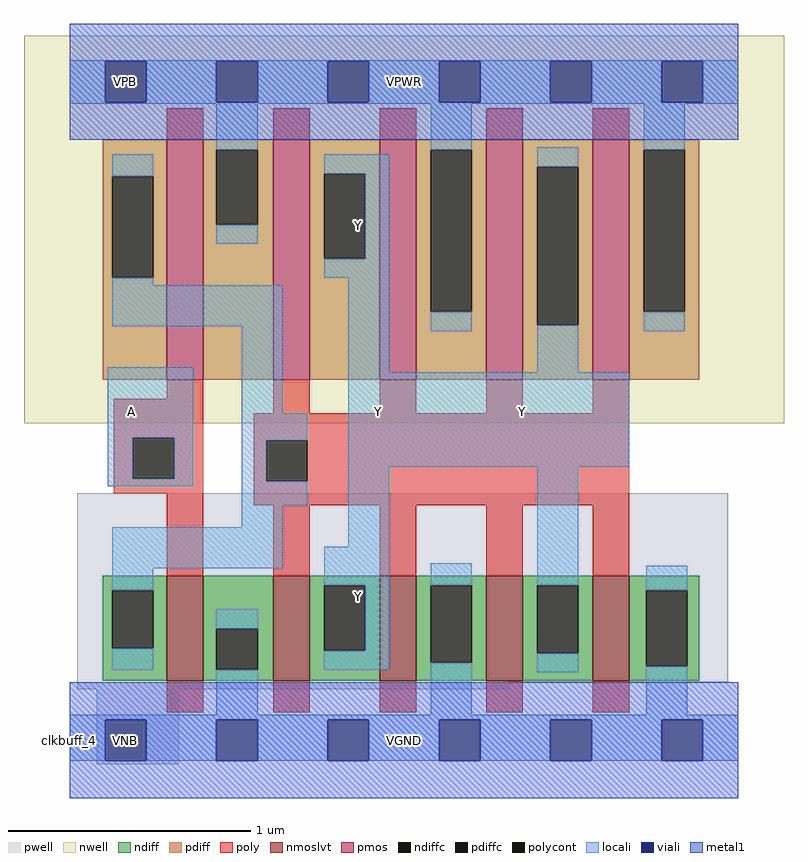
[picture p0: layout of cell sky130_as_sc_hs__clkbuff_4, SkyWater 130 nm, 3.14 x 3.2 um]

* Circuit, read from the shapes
.subckt sky130_as_sc_hs__clkbuff_4 VPB VPWR VGND VNB A Y
XM1 VGND A n1 VNB sky130_fd_pr__nfet_01v8_lvt w=0.435 l=0.15
XM2 Y n1 VGND VNB sky130_fd_pr__nfet_01v8_lvt w=0.435 l=0.15 m=4
XM3 VPWR A n1 VPB sky130_fd_pr__pfet_01v8 w=0.99 l=0.15
XM4 Y n1 VPWR VPB sky130_fd_pr__pfet_01v8 w=0.99 l=0.15 m=4
.ends

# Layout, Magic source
magic
tech sky130A
magscale 1 2
<< nwell >>
rect -38 262 590 582
<< pwell >>
rect 6 48 544 204
rect 6 42 362 48
rect 22 -20 90 42
<< pmos >>
rect 80 298 110 496
rect 168 298 198 496
rect 256 298 286 496
rect 344 298 374 496
rect 432 298 462 496
<< nmoslvt >>
rect 80 49 110 136
rect 168 49 198 136
rect 256 49 286 136
rect 344 49 374 136
rect 432 49 462 136
<< ndiff >>
rect 27 124 80 136
rect 27 76 35 124
rect 69 76 80 124
rect 27 49 80 76
rect 110 92 168 136
rect 110 58 121 92
rect 155 58 168 92
rect 110 49 168 58
rect 198 128 256 136
rect 198 74 210 128
rect 244 74 256 128
rect 198 49 256 74
rect 286 128 344 136
rect 286 64 298 128
rect 332 64 344 128
rect 286 49 344 64
rect 374 128 432 136
rect 374 72 386 128
rect 420 72 432 128
rect 374 49 432 72
rect 462 124 520 136
rect 462 61 476 124
rect 510 61 520 124
rect 462 49 520 61
<< pdiff >>
rect 27 466 80 496
rect 27 382 35 466
rect 69 382 80 466
rect 27 298 80 382
rect 110 488 168 496
rect 110 426 121 488
rect 155 426 168 488
rect 110 298 168 426
rect 198 468 256 496
rect 198 398 210 468
rect 244 398 256 468
rect 198 298 256 398
rect 286 488 344 496
rect 286 354 298 488
rect 332 354 344 488
rect 286 298 344 354
rect 374 474 432 496
rect 374 343 386 474
rect 420 343 432 474
rect 374 298 432 343
rect 462 488 520 496
rect 462 354 474 488
rect 508 354 520 488
rect 462 298 520 354
<< ndiffc >>
rect 35 76 69 124
rect 121 58 155 92
rect 210 74 244 128
rect 298 64 332 128
rect 386 72 420 128
rect 476 61 510 124
<< pdiffc >>
rect 35 382 69 466
rect 121 426 155 488
rect 210 398 244 468
rect 298 354 332 488
rect 386 343 420 474
rect 474 354 508 488
<< poly >>
rect 80 496 110 522
rect 168 496 198 522
rect 256 496 286 522
rect 344 496 374 522
rect 432 496 462 522
rect 80 282 110 298
rect 36 250 110 282
rect 168 270 198 298
rect 256 270 286 298
rect 344 270 374 298
rect 432 270 462 298
rect 36 216 52 250
rect 86 216 110 250
rect 36 204 110 216
rect 80 136 110 204
rect 152 248 462 270
rect 152 214 162 248
rect 196 214 462 248
rect 152 194 462 214
rect 168 136 198 194
rect 256 136 286 194
rect 344 136 374 194
rect 432 136 462 194
rect 80 23 110 49
rect 168 23 198 49
rect 256 23 286 49
rect 344 23 374 49
rect 432 23 462 49
<< polycont >>
rect 52 216 86 250
rect 162 214 196 248
<< locali >>
rect 0 561 552 562
rect 0 527 29 561
rect 63 527 121 561
rect 155 527 213 561
rect 247 527 305 561
rect 339 527 397 561
rect 431 527 489 561
rect 523 527 552 561
rect 0 526 552 527
rect 121 488 155 526
rect 35 466 69 484
rect 298 488 332 526
rect 121 410 155 426
rect 210 468 264 484
rect 244 398 264 468
rect 210 382 264 398
rect 35 376 69 382
rect 35 342 176 376
rect 31 250 102 308
rect 31 216 52 250
rect 86 216 102 250
rect 31 210 102 216
rect 142 270 176 342
rect 230 304 264 382
rect 298 338 332 354
rect 386 474 420 490
rect 386 304 420 343
rect 474 488 508 526
rect 474 338 508 354
rect 142 248 196 270
rect 142 214 162 248
rect 142 194 196 214
rect 230 226 462 304
rect 142 176 176 194
rect 35 142 176 176
rect 230 160 264 226
rect 35 124 69 142
rect 210 128 264 160
rect 35 58 69 76
rect 121 92 155 108
rect 244 74 264 128
rect 210 58 264 74
rect 298 128 332 146
rect 121 21 155 58
rect 298 21 332 64
rect 386 128 420 226
rect 386 56 420 72
rect 476 124 510 144
rect 476 21 510 61
rect 0 17 552 21
rect 0 -17 29 17
rect 63 -17 121 17
rect 155 -17 213 17
rect 247 -17 305 17
rect 339 -17 397 17
rect 431 -17 489 17
rect 523 -17 552 17
<< viali >>
rect 29 527 63 561
rect 121 527 155 561
rect 213 527 247 561
rect 305 527 339 561
rect 397 527 431 561
rect 489 527 523 561
rect 29 -17 63 17
rect 121 -17 155 17
rect 213 -17 247 17
rect 305 -17 339 17
rect 397 -17 431 17
rect 489 -17 523 17
<< metal1 >>
rect 0 561 552 592
rect 0 527 29 561
rect 63 527 121 561
rect 155 527 213 561
rect 247 527 305 561
rect 339 527 397 561
rect 431 527 489 561
rect 523 527 552 561
rect 0 496 552 527
rect 0 17 552 48
rect 0 -17 29 17
rect 63 -17 121 17
rect 155 -17 213 17
rect 247 -17 305 17
rect 339 -17 397 17
rect 431 -17 489 17
rect 523 -17 552 17
rect 0 -48 552 -17
<< labels >>
rlabel comment s 0 0 0 0 4 clkbuff_4
flabel pwell s 29 -17 63 17 0 FreeSans 200 0 0 0 VNB
port 4 nsew ground bidirectional
flabel pwell s 46 0 46 0 0 FreeSans 200 0 0 0 VNB
flabel nwell s 29 527 63 561 0 FreeSans 200 0 0 0 VPB
port 1 nsew power bidirectional
flabel nwell s 46 544 46 544 0 FreeSans 200 0 0 0 VPB
flabel metal1 s 29 527 63 561 0 FreeSans 200 0 0 0 VPWR
port 2 nsew power bidirectional abutment
flabel metal1 s 29 -17 63 17 0 FreeSans 200 0 0 0 VGND
port 3 nsew ground bidirectional abutment
rlabel metal1 s 0 -48 552 48 1 VGND
port 3 nsew ground bidirectional abutment
rlabel metal1 s 0 496 552 592 1 VPWR
port 2 nsew power bidirectional abutment
flabel locali s 34 255 68 289 0 FreeSans 200 0 0 0 A
port 5 nsew signal input
flabel locali s 51 272 51 272 0 FreeSans 200 0 0 0 A
flabel locali s 238 255 272 289 0 FreeSans 200 0 0 0 Y
port 6 nsew signal output
flabel locali s 255 272 255 272 0 FreeSans 200 0 0 0 Y
flabel locali s 221 408 255 442 0 FreeSans 200 0 0 0 Y
port 6 nsew signal output
flabel locali s 238 425 238 425 0 FreeSans 200 0 0 0 Y
flabel locali s 221 102 255 136 0 FreeSans 200 0 0 0 Y
port 6 nsew signal output
flabel locali s 238 119 238 119 0 FreeSans 200 0 0 0 Y
flabel locali 357 255 391 289 0 FreeSans 200 0 0 0 Y
port 6 nsew signal output
flabel locali 374 272 374 272 0 FreeSans 200 0 0 0 Y
<< properties >>
string FIXED_BBOX 0 0 552 544
string GDS_FILE $PDKPATH/libs.ref/sky130_as_sc_hs/gds/sky130_as_sc_hs__clkbuff_4.gds
string LEFclass CORE
string LEFsite unithd
string LEFsymmetry X Y R90
string MASKHINTS_LVTN 0 -4 552 172
string MASKHINTS_NSDM 0 -38 552 161
string MASKHINTS_PSDM 0 273 552 582
<< end >>
